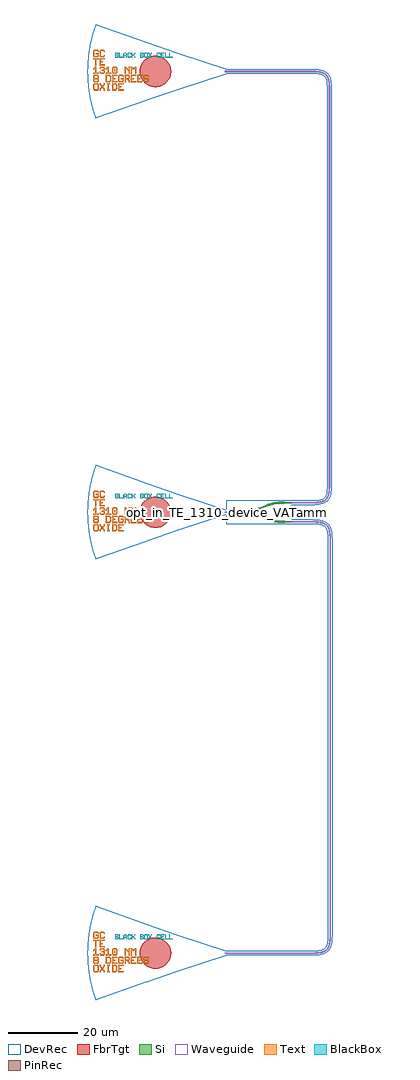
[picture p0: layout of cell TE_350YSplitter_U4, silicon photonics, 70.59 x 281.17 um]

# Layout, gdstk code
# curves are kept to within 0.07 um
import gdstk
lib = gdstk.Library(unit=1e-6, precision=1e-09)
def R(c, l, rs):  # rectangles x0, y0, x1, y1
    for r in rs: c.add(gdstk.rectangle(r[:2], r[2:], *l))
def P(c, l, *ps):  # polygons
    for p in ps: c.add(gdstk.Polygon(p, *l))
Si = (1, 0)
PinRec = (1, 10)
Waveguide = (1, 99)
Text = (10, 0)
DevRec = (68, 0)
FbrTgt = (81, 0)
BlackBox = (998, 0)

waveguide_7 = lib.new_cell('Waveguide$7')
P(waveguide_7, Si, [(58.79,270.015),(58.79,270.365),(65.373,270.374),(66.64,270.478),(67.629,270.714),(68.079,270.914),(68.454,271.166),(68.956,271.75),(69.297,272.556),(69.511,273.797),(69.565,275.19),(69.565,389.44),(69.452,391.34),(69.298,392.073),(69.122,392.564),(68.897,392.974),(68.537,393.391),(68.08,393.715),(67.63,393.915),(67.098,394.067),(66.308,394.193),(64.74,394.265),(39.99,394.265),(39.99,394.615),(64.74,394.615),(66.346,394.541),(67.174,394.409),(67.748,394.245),(68.362,393.956),(68.773,393.651),(69.113,393.275),(69.442,392.706),(69.674,392.024),(69.798,391.392),(69.888,390.485),(69.915,389.44),(69.915,275.19),(69.859,273.765),(69.673,272.605),(69.494,272.05),(69.256,271.568),(68.951,271.157),(68.676,270.896),(68.247,270.608),(67.747,270.384),(66.692,270.132),(65.588,270.032)])
P(waveguide_7, Waveguide, [(58.79,270.015),(58.79,270.365),(65.373,270.374),(66.64,270.478),(67.629,270.714),(68.079,270.914),(68.454,271.166),(68.956,271.75),(69.297,272.556),(69.511,273.797),(69.565,275.19),(69.565,389.44),(69.452,391.34),(69.298,392.073),(69.122,392.564),(68.897,392.974),(68.537,393.391),(68.08,393.715),(67.63,393.915),(67.098,394.067),(66.308,394.193),(64.74,394.265),(39.99,394.265),(39.99,394.615),(64.74,394.615),(66.346,394.541),(67.174,394.409),(67.748,394.245),(68.362,393.956),(68.773,393.651),(69.113,393.275),(69.442,392.706),(69.674,392.024),(69.798,391.392),(69.888,390.485),(69.915,389.44),(69.915,275.19),(69.859,273.765),(69.673,272.605),(69.494,272.05),(69.256,271.568),(68.951,271.157),(68.676,270.896),(68.247,270.608),(67.747,270.384),(66.692,270.132),(65.588,270.032)])
P(waveguide_7, DevRec, [(58.79,269.515),(58.79,270.865),(65.392,270.875),(66.495,270.963),(67.666,271.267),(68.164,271.575),(68.662,272.263),(68.887,272.981),(69.022,273.953),(69.065,389.44),(68.967,391.195),(68.786,392.038),(68.355,392.864),(67.667,393.362),(66.496,393.666),(64.74,393.765),(39.99,393.765),(39.99,395.115),(64.74,395.115),(66.682,395.004),(68.219,394.594),(69.041,394.08),(69.381,393.74),(69.895,392.918),(70.305,391.381),(70.415,389.44),(70.368,273.845),(70.073,272.185),(69.664,271.278),(69.04,270.549),(67.744,269.856),(66.681,269.625),(65.438,269.525)])
waveguide_7.add(gdstk.FlexPath([(58.8,270.19),(58.78,270.19)], 0.35, ends="flush", simple_path=True, layer=1, datatype=10))  # PinRec
waveguide_7.add(gdstk.FlexPath([(40,394.44),(39.98,394.44)], 0.35, ends="flush", simple_path=True, layer=1, datatype=10))  # PinRec
waveguide_7.add(gdstk.Label('opt1', (58.79,270.19), layer=1, texttype=10))
waveguide_7.add(gdstk.Label('opt2', (39.99,394.44), layer=1, texttype=10))
waveguide_7.add(gdstk.Label('Lumerical_INTERCONNECT_library=Design kits/EBeam', (58.79,270.12), layer=68, texttype=0))
waveguide_7.add(gdstk.Label('Component=ebeam_wg_integral_1310', (58.79,270.26), layer=68, texttype=0))
waveguide_7.add(gdstk.Label('cellName=Waveguide', (58.79,270.33), layer=68, texttype=0))
waveguide_7.add(gdstk.Label('Spice_param:wg_length=0.000161857 wg_width=3.5e-07 points="[[58.79,270.19],[69.74,270.19],[69.74,394.44],[39.99,394.44]]" radius=5e-06', (58.79,270.19), layer=68, texttype=0))
waveguide_7.add(gdstk.Label('Length=161.857 (microns)', (58.79,269.77), layer=68, texttype=0))
waveguide_7.add(gdstk.Label('waveguide_type=Strip TE 1310 nm, w=350 nm', (58.79,270.05), layer=68, texttype=0))

ebeam_y_1310 = lib.new_cell('ebeam_y_1310')
R(ebeam_y_1310, Si, [(6.5,-3,7.4,-2.5), (-7.4,-0.25,-6,0.25), (6.5,2.5,7.4,3)])
P(ebeam_y_1310, Si, [(6.458,-3),(6.237,-2.997),(6.237,-2.497),(6.5,-2.5),(6.5,-3)],
  [(5.033,-2.908),(3.59,-2.634),(2.265,-2.21),(2.445,-1.744),(3.731,-2.154),(5.033,-2.404)],
  [(6.233,-2.997),(5.033,-2.908),(5.033,-2.404),(6.237,-2.497)],
  [(2.265,-2.21),(0.055,-1.356),(0.235,-0.89),(2.445,-1.744)],
  [(-0.762,-1.076),(-2.334,-0.724),(-4,-0.6),(-4,-0.1),(-2.381,-0.212),(-0.762,-0.555)],
  [(0.055,-1.356),(-0.762,-1.076),(-0.762,-0.555),(0.235,-0.89)],
  [(6.237,2.497),(6.237,2.997),(6.5,3),(6.5,2.5)],
  [(2.445,1.744),(2.267,2.211),(3.59,2.634),(5.033,2.908),(5.033,2.404),(3.731,2.154)],
  [(5.033,2.404),(5.033,2.908),(6.237,2.997),(6.237,2.497)],
  [(0.235,0.89),(0.055,1.356),(2.265,2.21),(2.445,1.744)],
  [(-4,0.1),(-4,0.6),(-2.334,0.724),(-0.762,1.076),(-0.762,0.555),(-2.381,0.212)],
  [(-0.762,0.555),(-0.762,1.076),(0.055,1.356),(0.235,0.89)],
  [(-5.122,-0.662),(-5.442,-0.374),(-5.808,-0.255),(-6,-0.25),(-6,0.25),(-5.817,0.253),(-5.442,0.374),(-5.122,0.662)],
  [(-4.957,-0.703),(-5.122,-0.662),(-5.122,0.662),(-4.538,0.703),(-4,0.6),(-4,-0.6)],
  [(-7.4,-0.25),(-9.4,-0.175),(-9.4,0.175),(-7.4,0.25)],
  [(7.4,2.5),(7.4,3),(9.4,2.925),(9.4,2.575)],
  [(7.4,-3),(7.4,-2.5),(9.4,-2.575),(9.4,-2.925)])
R(ebeam_y_1310, DevRec, [(-9.4,-3.5,9.4,3.5)])
ebeam_y_1310.add(gdstk.FlexPath([(9.35,2.75),(9.45,2.75)], 0.35, ends="flush", simple_path=True, layer=1, datatype=10))  # PinRec
ebeam_y_1310.add(gdstk.FlexPath([(9.35,-2.75),(9.45,-2.75)], 0.35, ends="flush", simple_path=True, layer=1, datatype=10))  # PinRec
ebeam_y_1310.add(gdstk.FlexPath([(-9.35,0),(-9.45,0)], 0.35, ends="flush", simple_path=True, layer=1, datatype=10))  # PinRec
ebeam_y_1310.add(gdstk.Label('Ref: Y Zhang, Opt. Express, 21/1, 2013, for 1550 nm\nWorks reasonably well at 1310 nm', (-9.25,-1), layer=10, texttype=0))
ebeam_y_1310.add(gdstk.Label('opt2', (9.4,2.75), layer=1, texttype=10))
ebeam_y_1310.add(gdstk.Label('opt3', (9.4,-2.75), layer=1, texttype=10))
ebeam_y_1310.add(gdstk.Label('opt1', (-9.4,0), layer=1, texttype=10))
ebeam_y_1310.add(gdstk.Label('Component=ebeam_y_1310', (-9,1.5), layer=68, texttype=0))
ebeam_y_1310.add(gdstk.Label('Lumerical_INTERCONNECT_library=NONE', (-6.86,-2.19), layer=68, texttype=0))

waveguide_8 = lib.new_cell('Waveguide$8')
P(waveguide_8, Si, [(39.99,140.265),(39.99,140.615),(64.94,140.615),(66.333,140.669),(67.574,140.883),(68.065,141.059),(68.568,141.35),(68.964,141.726),(69.216,142.101),(69.416,142.551),(69.568,143.083),(69.712,144.048),(69.765,145.44),(69.765,259.69),(69.711,261.083),(69.497,262.324),(69.321,262.815),(69.096,263.225),(68.816,263.566),(68.474,263.847),(67.704,264.208),(66.84,264.402),(65.573,264.506),(58.79,264.515),(58.79,264.865),(65.585,264.856),(66.545,264.792),(67.373,264.66),(68.079,264.445),(68.67,264.137),(69.151,263.723),(69.456,263.312),(69.745,262.698),(69.909,262.124),(70.041,261.296),(70.11,260.126),(70.115,145.44),(70.076,144.203),(69.91,143.007),(69.746,142.433),(69.457,141.819),(69.152,141.408),(68.776,141.068),(68.33,140.797),(67.811,140.589),(67.218,140.439),(66.365,140.321),(64.94,140.265)])
P(waveguide_8, Waveguide, [(39.99,140.265),(39.99,140.615),(64.94,140.615),(66.333,140.669),(67.574,140.883),(68.065,141.059),(68.568,141.35),(68.964,141.726),(69.216,142.101),(69.416,142.551),(69.568,143.083),(69.712,144.048),(69.765,145.44),(69.765,259.69),(69.711,261.083),(69.497,262.324),(69.321,262.815),(69.096,263.225),(68.816,263.566),(68.474,263.847),(67.704,264.208),(66.84,264.402),(65.573,264.506),(58.79,264.515),(58.79,264.865),(65.585,264.856),(66.545,264.792),(67.373,264.66),(68.079,264.445),(68.67,264.137),(69.151,263.723),(69.456,263.312),(69.745,262.698),(69.909,262.124),(70.041,261.296),(70.11,260.126),(70.115,145.44),(70.076,144.203),(69.91,143.007),(69.746,142.433),(69.457,141.819),(69.152,141.408),(68.776,141.068),(68.33,140.797),(67.811,140.589),(67.218,140.439),(66.365,140.321),(64.94,140.265)])
P(waveguide_8, DevRec, [(39.99,139.765),(39.99,141.115),(64.94,141.115),(66.696,141.214),(67.539,141.395),(68.365,141.826),(68.863,142.514),(69.088,143.232),(69.265,145.44),(69.222,260.927),(69.087,261.899),(68.718,262.888),(68.137,263.469),(67.538,263.736),(65.592,264.005),(58.79,264.015),(58.79,265.365),(65.638,265.355),(67.434,265.158),(68.851,264.615),(69.24,264.331),(69.864,263.602),(70.407,262.185),(70.604,260.39),(70.615,145.44),(70.408,142.946),(69.865,141.529),(69.241,140.8),(67.945,140.107),(66.285,139.812)])
waveguide_8.add(gdstk.FlexPath([(58.8,264.69),(58.78,264.69)], 0.35, ends="flush", simple_path=True, layer=1, datatype=10))  # PinRec
waveguide_8.add(gdstk.FlexPath([(40,140.44),(39.98,140.44)], 0.35, ends="flush", simple_path=True, layer=1, datatype=10))  # PinRec
waveguide_8.add(gdstk.Label('opt1', (58.79,264.69), layer=1, texttype=10))
waveguide_8.add(gdstk.Label('opt2', (39.99,140.44), layer=1, texttype=10))
waveguide_8.add(gdstk.Label('Lumerical_INTERCONNECT_library=Design kits/EBeam', (58.79,264.62), layer=68, texttype=0))
waveguide_8.add(gdstk.Label('Component=ebeam_wg_integral_1310', (58.79,264.76), layer=68, texttype=0))
waveguide_8.add(gdstk.Label('cellName=Waveguide', (58.79,264.83), layer=68, texttype=0))
waveguide_8.add(gdstk.Label('Spice_param:wg_length=0.000162257 wg_width=3.5e-07 points="[[58.79,264.69],[69.94,264.69],[69.94,140.44],[39.99,140.44]]" radius=5e-06', (58.79,264.69), layer=68, texttype=0))
waveguide_8.add(gdstk.Label('Length=162.257 (microns)', (58.79,264.27), layer=68, texttype=0))
waveguide_8.add(gdstk.Label('waveguide_type=Strip TE 1310 nm, w=350 nm', (58.79,264.55), layer=68, texttype=0))

text = lib.new_cell('TEXT')
P(text, BlackBox, [(0,0),(0,1.4),(0.8,1.4),(1,1.2),(0.2,1.2),(0.2,0.8),(0.7,0.8),(0.8,0.9),(0.8,1.1),(0.7,1.2),(1,1.2),(1,0.8),(0.9,0.7),(1,0.6),(0.2,0.6),(0.2,0.2),(0.7,0.2),(0.8,0.3),(0.8,0.5),(0.7,0.6),(1,0.6),(1,0.2),(0.8,0)],
  [(1.2,0),(1.2,1.4),(1.4,1.4),(1.4,0.2),(2.2,0.2),(2.2,0)],
  [(2.4,0),(2.4,1.1),(2.7,1.4),(3.1,1.4),(3.3,1.2),(2.8,1.2),(2.6,1),(2.6,0.7),(3.2,0.7),(3.2,1),(3,1.2),(3.3,1.2),(3.4,1.1),(3.4,0),(3.2,0),(3.2,0.5),(2.6,0.5),(2.6,0)],
  [(3.8,0),(3.6,0.2),(3.6,1.2),(3.8,1.4),(4.4,1.4),(4.6,1.2),(4.6,1),(4.4,1),(4.4,1.1),(4.3,1.2),(3.9,1.2),(3.8,1.1),(3.8,0.3),(3.9,0.2),(4.3,0.2),(4.4,0.3),(4.4,0.4),(4.6,0.4),(4.6,0.2),(4.4,0)],
  [(4.8,0),(4.8,1.4),(5,1.4),(5,0.8),(5.2,0.8),(5.6,1.2),(5.6,1.4),(5.8,1.4),(5.8,1.1),(5.4,0.7),(5.8,0.3),(5.8,0),(5.6,0),(5.6,0.2),(5.2,0.6),(5,0.6),(5,0)],
  [(7.2,0),(7.2,1.4),(8,1.4),(8.2,1.2),(7.4,1.2),(7.4,0.8),(7.9,0.8),(8,0.9),(8,1.1),(7.9,1.2),(8.2,1.2),(8.2,0.8),(8.1,0.7),(8.2,0.6),(7.4,0.6),(7.4,0.2),(7.9,0.2),(8,0.3),(8,0.5),(7.9,0.6),(8.2,0.6),(8.2,0.2),(8,0)],
  [(8.6,0),(8.4,0.2),(8.4,1.2),(8.6,1.4),(9.2,1.4),(9.4,1.2),(9.4,0.7),(9.2,0.7),(9.2,1.1),(9.1,1.2),(8.7,1.2),(8.6,1.1),(8.6,0.3),(8.7,0.2),(9.1,0.2),(9.2,0.3),(9.2,0.7),(9.4,0.7),(9.4,0.2),(9.2,0)],
  [(9.6,0),(9.6,0.3),(9.9,0.6),(9.9,0.8),(9.6,1.1),(9.6,1.4),(9.8,1.4),(9.8,1.2),(10.1,0.9),(10.4,1.2),(10.4,1.4),(10.6,1.4),(10.6,1.1),(10.3,0.8),(10.3,0.6),(10.6,0.3),(10.6,0),(10.4,0),(10.4,0.2),(10.1,0.5),(9.8,0.2),(9.8,0)],
  [(12.2,0),(12,0.2),(12,1.2),(12.2,1.4),(12.8,1.4),(13,1.2),(13,1),(12.8,1),(12.8,1.1),(12.7,1.2),(12.3,1.2),(12.2,1.1),(12.2,0.3),(12.3,0.2),(12.7,0.2),(12.8,0.3),(12.8,0.4),(13,0.4),(13,0.2),(12.8,0)],
  [(13.2,0),(13.2,1.4),(14.2,1.4),(14.2,1.2),(13.4,1.2),(13.4,0.8),(13.8,0.8),(13.8,0.6),(13.4,0.6),(13.4,0.2),(14.2,0.2),(14.2,0)],
  [(14.4,0),(14.4,1.4),(14.6,1.4),(14.6,0.2),(15.4,0.2),(15.4,0)],
  [(15.6,0),(15.6,1.4),(15.8,1.4),(15.8,0.2),(16.6,0.2),(16.6,0)])

gc_te_1310_8degoxide_bb = lib.new_cell('GC_TE_1310_8degOxide_BB')
R(gc_te_1310_8degoxide_bb, Waveguide, [(-0.4,-0.175,0,0.175)])
R(gc_te_1310_8degoxide_bb, Text, [(-32.27,0.06,-31.97,0.66)])
P(gc_te_1310_8degoxide_bb, Text, [(-37.67,1.71),(-37.67,3.51),(-38.27,3.51),(-38.27,3.81),(-36.77,3.81),(-36.77,3.51),(-37.37,3.51),(-37.37,1.71)],
  [(-37.97,-5.49),(-38.27,-5.19),(-38.27,-3.69),(-37.97,-3.39),(-37.07,-3.39),(-36.77,-3.69),(-36.77,-4.44),(-37.07,-4.44),(-37.07,-3.84),(-37.22,-3.69),(-37.82,-3.69),(-37.97,-3.84),(-37.97,-5.04),(-37.82,-5.19),(-37.22,-5.19),(-37.07,-5.04),(-37.07,-4.44),(-36.77,-4.44),(-36.77,-5.19),(-37.07,-5.49)],
  [(-31.07,-5.49),(-31.07,-3.39),(-29.57,-3.39),(-29.57,-3.69),(-30.77,-3.69),(-30.77,-4.29),(-30.17,-4.29),(-30.17,-4.59),(-30.77,-4.59),(-30.77,-5.19),(-29.57,-5.19),(-29.57,-5.49)],
  [(-32.87,-3.09),(-32.87,-0.99),(-31.37,-0.99),(-31.37,-1.29),(-32.57,-1.29),(-32.57,-1.89),(-31.97,-1.89),(-31.97,-2.19),(-32.57,-2.19),(-32.57,-2.79),(-31.37,-2.79),(-31.37,-3.09)],
  [(-27.47,-3.09),(-27.47,-0.99),(-25.97,-0.99),(-25.97,-1.29),(-27.17,-1.29),(-27.17,-1.89),(-26.57,-1.89),(-26.57,-2.19),(-27.17,-2.19),(-27.17,-2.79),(-25.97,-2.79),(-25.97,-3.09)],
  [(-25.67,-3.09),(-25.67,-0.99),(-24.17,-0.99),(-24.17,-1.29),(-25.37,-1.29),(-25.37,-1.89),(-24.77,-1.89),(-24.77,-2.19),(-25.37,-2.19),(-25.37,-2.79),(-24.17,-2.79),(-24.17,-3.09)],
  [(-36.47,1.71),(-36.47,3.81),(-34.97,3.81),(-34.97,3.51),(-36.17,3.51),(-36.17,2.91),(-35.57,2.91),(-35.57,2.61),(-36.17,2.61),(-36.17,2.01),(-34.97,2.01),(-34.97,1.71)],
  [(-27.47,-0.69),(-27.47,1.41),(-27.17,1.41),(-26.87,1.11),(-26.57,1.11),(-26.27,1.41),(-25.97,1.41),(-25.97,-0.69),(-26.27,-0.69),(-26.27,0.81),(-26.42,0.81),(-26.72,0.51),(-27.02,0.81),(-27.17,0.81),(-27.17,-0.69)],
  [(-29.27,-0.69),(-29.27,1.41),(-28.97,1.41),(-28.22,0.66),(-28.07,0.66),(-28.07,1.41),(-27.77,1.41),(-27.77,-0.69),(-28.07,-0.69),(-28.07,0.06),(-28.82,0.81),(-28.97,0.81),(-28.97,-0.69)],
  [(-34.22,-5.49),(-34.22,-5.19),(-34.07,-5.19),(-34.07,-3.69),(-34.22,-3.69),(-34.22,-3.39),(-33.62,-3.39),(-33.62,-3.69),(-33.77,-3.69),(-33.77,-5.19),(-33.62,-5.19),(-33.62,-5.49)],
  [(-36.17,-0.69),(-36.47,-0.39),(-36.47,-0.09),(-36.17,-0.09),(-36.17,-0.24),(-36.02,-0.39),(-35.42,-0.39),(-35.27,-0.24),(-35.27,0.06),(-35.42,0.21),(-35.87,0.21),(-35.87,0.51),(-35.42,0.51),(-35.27,0.66),(-35.27,0.96),(-35.42,1.11),(-36.02,1.11),(-36.17,0.96),(-36.17,0.81),(-36.47,0.81),(-36.47,1.11),(-36.17,1.41),(-35.27,1.41),(-34.97,1.11),(-34.97,0.51),(-35.12,0.36),(-34.97,0.21),(-34.97,-0.39),(-35.27,-0.69)],
  [(-29.27,-3.09),(-29.27,-0.99),(-28.07,-0.99),(-27.77,-1.29),(-28.97,-1.29),(-28.97,-1.89),(-28.22,-1.89),(-28.07,-1.74),(-28.07,-1.44),(-28.22,-1.29),(-27.77,-1.29),(-27.77,-1.89),(-28.07,-2.19),(-28.07,-2.34),(-27.77,-2.64),(-27.77,-3.09),(-28.07,-3.09),(-28.07,-2.79),(-28.67,-2.19),(-28.97,-2.19),(-28.97,-3.09)],
  [(-30.77,-3.09),(-31.07,-2.79),(-31.07,-1.29),(-30.77,-0.99),(-29.87,-0.99),(-29.57,-1.29),(-29.57,-1.59),(-29.87,-1.59),(-29.87,-1.44),(-30.02,-1.29),(-30.62,-1.29),(-30.77,-1.44),(-30.77,-2.64),(-30.62,-2.79),(-30.02,-2.79),(-29.87,-2.64),(-29.87,-2.19),(-30.32,-2.19),(-30.32,-1.89),(-29.57,-1.89),(-29.57,-2.79),(-29.87,-3.09)],
  [(-37.97,4.11),(-38.27,4.41),(-38.27,5.91),(-37.97,6.21),(-37.07,6.21),(-36.77,5.91),(-36.77,5.61),(-37.07,5.61),(-37.07,5.76),(-37.22,5.91),(-37.82,5.91),(-37.97,5.76),(-37.97,4.56),(-37.82,4.41),(-37.22,4.41),(-37.07,4.56),(-37.07,5.01),(-37.52,5.01),(-37.52,5.31),(-36.77,5.31),(-36.77,4.41),(-37.07,4.11)],
  [(-32.57,-0.69),(-32.87,-0.39),(-32.87,1.11),(-32.57,1.41),(-31.67,1.41),(-31.37,1.11),(-32.42,1.11),(-32.57,0.96),(-32.57,-0.24),(-32.42,-0.39),(-31.82,-0.39),(-31.67,-0.24),(-31.67,0.96),(-31.82,1.11),(-31.37,1.11),(-31.37,-0.39),(-31.67,-0.69)],
  [(-32.87,-5.49),(-32.87,-3.39),(-31.82,-3.39),(-31.52,-3.69),(-32.57,-3.69),(-32.57,-5.19),(-31.97,-5.19),(-31.67,-4.89),(-31.67,-3.99),(-31.97,-3.69),(-31.52,-3.69),(-31.37,-3.84),(-31.37,-5.04),(-31.82,-5.49)],
  [(-34.67,-3.09),(-34.67,-0.99),(-33.62,-0.99),(-33.32,-1.29),(-34.37,-1.29),(-34.37,-2.79),(-33.77,-2.79),(-33.47,-2.49),(-33.47,-1.59),(-33.77,-1.29),(-33.32,-1.29),(-33.17,-1.44),(-33.17,-2.64),(-33.62,-3.09)],
  [(-23.57,-3.09),(-23.87,-2.79),(-23.87,-2.49),(-23.57,-2.49),(-23.57,-2.64),(-23.42,-2.79),(-22.82,-2.79),(-22.67,-2.64),(-22.67,-2.34),(-22.82,-2.19),(-23.57,-2.19),(-23.87,-1.89),(-23.87,-1.29),(-23.57,-0.99),(-22.67,-0.99),(-22.37,-1.29),(-22.37,-1.59),(-22.67,-1.59),(-22.67,-1.44),(-22.82,-1.29),(-23.42,-1.29),(-23.57,-1.44),(-23.57,-1.74),(-23.42,-1.89),(-22.67,-1.89),(-22.37,-2.19),(-22.37,-2.79),(-22.67,-3.09)],
  [(-37.97,-3.09),(-38.27,-2.79),(-38.27,-2.19),(-38.12,-2.04),(-38.27,-1.89),(-38.27,-1.29),(-37.97,-0.99),(-37.07,-0.99),(-36.77,-1.29),(-37.82,-1.29),(-37.97,-1.44),(-37.97,-1.74),(-37.82,-1.89),(-37.22,-1.89),(-37.07,-1.74),(-37.07,-1.44),(-37.22,-1.29),(-36.77,-1.29),(-36.77,-1.89),(-36.92,-2.04),(-36.77,-2.19),(-37.82,-2.19),(-37.97,-2.34),(-37.97,-2.64),(-37.82,-2.79),(-37.22,-2.79),(-37.07,-2.64),(-37.07,-2.34),(-37.22,-2.19),(-36.77,-2.19),(-36.77,-2.79),(-37.07,-3.09)],
  [(-38.27,-0.69),(-38.27,-0.39),(-37.67,-0.39),(-37.67,0.81),(-37.82,0.81),(-38.12,0.51),(-38.27,0.51),(-38.27,0.81),(-37.67,1.41),(-37.37,1.41),(-37.37,-0.39),(-36.77,-0.39),(-36.77,-0.69)],
  [(-34.67,-0.69),(-34.67,-0.39),(-34.07,-0.39),(-34.07,0.81),(-34.22,0.81),(-34.52,0.51),(-34.67,0.51),(-34.67,0.81),(-34.07,1.41),(-33.77,1.41),(-33.77,-0.39),(-33.17,-0.39),(-33.17,-0.69)],
  [(-36.47,-5.49),(-36.47,-5.04),(-36.02,-4.59),(-36.02,-4.29),(-36.47,-3.84),(-36.47,-3.39),(-36.17,-3.39),(-36.17,-3.69),(-35.72,-4.14),(-35.27,-3.69),(-35.27,-3.39),(-34.97,-3.39),(-34.97,-3.84),(-35.42,-4.29),(-35.42,-4.59),(-34.97,-5.04),(-34.97,-5.49),(-35.27,-5.49),(-35.27,-5.19),(-35.72,-4.74),(-36.17,-5.19),(-36.17,-5.49)],
  [(-36.17,4.11),(-36.47,4.41),(-36.47,5.91),(-36.17,6.21),(-35.27,6.21),(-34.97,5.91),(-34.97,5.61),(-35.27,5.61),(-35.27,5.76),(-35.42,5.91),(-36.02,5.91),(-36.17,5.76),(-36.17,4.56),(-36.02,4.41),(-35.42,4.41),(-35.27,4.56),(-35.27,4.71),(-34.97,4.71),(-34.97,4.41),(-35.27,4.11)])
P(gc_te_1310_8degoxide_bb, DevRec, [(-37.607,-13.5),(-38.627,-10.245),(-39.378,-6.832),(-39.835,-3.274),(-39.969,0.224),(-39.812,3.541),(-39.331,7.097),(-38.557,10.505),(-37.546,13.669),(-22.8,8.353),(-14.109,5.36),(0,0.75),(0,-0.75),(-14.109,-5.36)])
P(gc_te_1310_8degoxide_bb, FbrTgt, [(-20.621,-4.5),(-21.495,-4.37),(-22.326,-4.073),(-23.084,-3.619),(-23.738,-3.026),(-24.264,-2.316),(-24.642,-1.518),(-24.857,-0.661),(-24.9,0.221),(-24.77,1.095),(-24.473,1.926),(-24.019,2.684),(-23.426,3.338),(-22.716,3.864),(-21.918,4.242),(-21.061,4.457),(-20.179,4.5),(-19.305,4.37),(-18.474,4.073),(-17.716,3.619),(-17.062,3.026),(-16.536,2.316),(-16.158,1.518),(-15.943,0.661),(-15.9,-0.221),(-16.03,-1.095),(-16.327,-1.926),(-16.781,-2.684),(-17.374,-3.338),(-18.084,-3.864),(-18.882,-4.242),(-19.739,-4.457)])
gc_te_1310_8degoxide_bb.add(gdstk.FlexPath([(-0.01,0),(0.01,0)], 0.35, ends="flush", simple_path=True, layer=1, datatype=10))  # PinRec
gc_te_1310_8degoxide_bb.add(gdstk.Reference(text, (-32,4)))
gc_te_1310_8degoxide_bb.add(gdstk.Label('opt1', (0,0), layer=1, texttype=10))
gc_te_1310_8degoxide_bb.add(gdstk.Label('Lumerical_INTERCONNECT_library=Design kits/ebeam', (-29,-7), layer=68, texttype=0))
gc_te_1310_8degoxide_bb.add(gdstk.Label('Component=GC_TE_1310_8degOxide_BB', (-28,-5), layer=68, texttype=0))

te_350ysplitter_u4 = lib.new_cell('TE_350YSplitter_U4')
te_350ysplitter_u4.add(gdstk.Reference(waveguide_7, (0,0)))
te_350ysplitter_u4.add(gdstk.Reference(ebeam_y_1310, (49.39,267.44)))
te_350ysplitter_u4.add(gdstk.Reference(waveguide_8, (0,0)))
te_350ysplitter_u4.add(gdstk.Reference(gc_te_1310_8degoxide_bb, (39.99,140.44)))
te_350ysplitter_u4.add(gdstk.Reference(gc_te_1310_8degoxide_bb, (39.99,267.44)))
te_350ysplitter_u4.add(gdstk.Reference(gc_te_1310_8degoxide_bb, (39.99,394.44)))
te_350ysplitter_u4.add(gdstk.Label('opt_in_TE_1310_device_VATamma_devU4YSplitter', (39.99,267.44), layer=10, texttype=0))

lib.write_gds('TE_350YSplitter_U4.gds')
